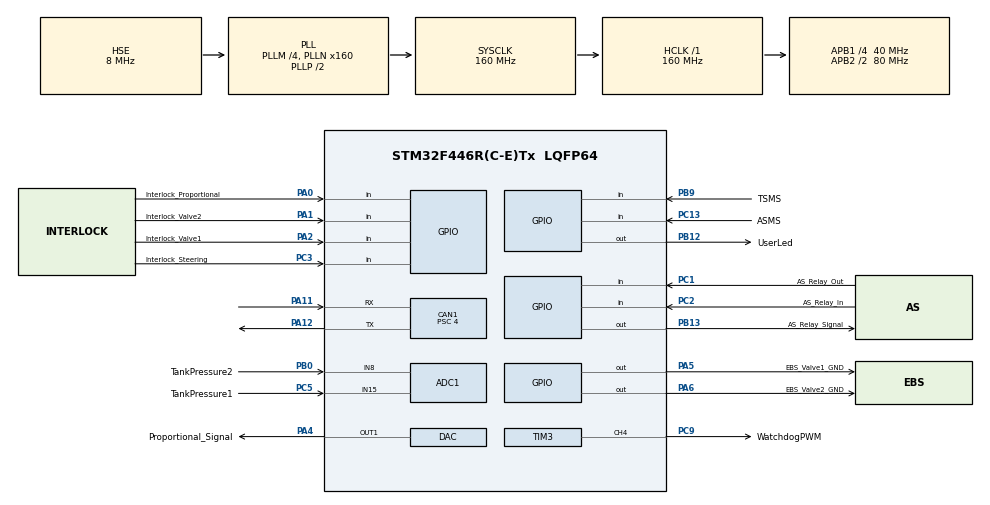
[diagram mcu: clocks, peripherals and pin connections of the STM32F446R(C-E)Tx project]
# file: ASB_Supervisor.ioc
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ADC1.Channel-0\#ChannelRegularConversion=ADC_CHANNEL_15
ADC1.Channel-1\#ChannelRegularConversion=ADC_CHANNEL_8
ADC1.ContinuousConvMode=DISABLE
ADC1.DMAContinuousRequests=ENABLE
ADC1.ExternalTrigConv=ADC_EXTERNALTRIGCONV_T2_TRGO
ADC1.ExternalTrigConvEdge=ADC_EXTERNALTRIGCONVEDGE_RISING
ADC1.NbrOfConversion=2
ADC1.NbrOfConversionFlag=1
ADC1.Rank-0\#ChannelRegularConversion=1
ADC1.Rank-1\#ChannelRegularConversion=2
ADC1.SamplingTime-0\#ChannelRegularConversion=ADC_SAMPLETIME_15CYCLES
ADC1.SamplingTime-1\#ChannelRegularConversion=ADC_SAMPLETIME_15CYCLES
ADC1.ScanConvMode=ENABLE
ADC1.master=1
CAN1.ABOM=ENABLE
CAN1.BS1=CAN_BS1_7TQ
CAN1.BS2=CAN_BS2_2TQ
CAN1.CalculateBaudRate=1000000
CAN1.CalculateTimeBit=1000
CAN1.CalculateTimeQuantum=100.0
CAN1.Prescaler=4
CAN1.SJW=CAN_SJW_2TQ
Dma.ADC1.0.Direction=DMA_PERIPH_TO_MEMORY
Dma.ADC1.0.FIFOMode=DMA_FIFOMODE_DISABLE
Dma.ADC1.0.Instance=DMA2_Stream0
Dma.ADC1.0.MemDataAlignment=DMA_MDATAALIGN_HALFWORD
Dma.ADC1.0.MemInc=DMA_MINC_ENABLE
Dma.ADC1.0.Mode=DMA_CIRCULAR
Dma.ADC1.0.PeriphDataAlignment=DMA_PDATAALIGN_HALFWORD
Dma.ADC1.0.PeriphInc=DMA_PINC_DISABLE
Dma.ADC1.0.Priority=DMA_PRIORITY_LOW
Dma.Request0=ADC1
Mcu.Family=STM32F4
Mcu.Name=STM32F446R(C-E)Tx
Mcu.Package=LQFP64
NVIC.CAN1_RX0_IRQn=true\:0\:0\:false\:false\:true\:true\:true\:true
NVIC.CAN1_TX_IRQn=true\:0\:0\:false\:false\:true\:true\:true\:true
NVIC.DMA2_Stream0_IRQn=true\:0\:0\:false\:false\:true\:false\:true\:true
NVIC.PriorityGroup=NVIC_PRIORITYGROUP_4
NVIC.TIM2_IRQn=true\:0\:0\:false\:false\:true\:true\:true\:true
NVIC.TIM4_IRQn=true\:0\:0\:false\:false\:true\:true\:true\:true
NVIC.TIM5_IRQn=true\:0\:0\:false\:false\:true\:true\:true\:true
NVIC.TIM6_DAC_IRQn=true\:0\:0\:false\:false\:true\:true\:true\:true
NVIC.TIM7_IRQn=true\:0\:0\:false\:false\:true\:true\:true\:true
PA0-WKUP.GPIO_Label=Interlock_Proportional
PA0-WKUP.Signal=GPIO_Input
PA1.GPIO_Label=Interlock_Valve2
PA1.Signal=GPIO_Input
PA11.Mode=CAN_Activate
PA11.Signal=CAN1_RX
PA12.Mode=CAN_Activate
PA12.Signal=CAN1_TX
PA13.Mode=Trace_Asynchronous_SW
PA13.Signal=SYS_JTMS-SWDIO
PA14.Mode=Trace_Asynchronous_SW
PA14.Signal=SYS_JTCK-SWCLK
PA2.GPIO_Label=Interlock_Valve1
PA2.Signal=GPIO_Input
PA4.GPIO_Label=Proportional_Signal
PA4.Signal=COMP_DAC1_group
PA5.GPIO_Label=EBS_Valve1_GND
PA5.Signal=GPIO_Output
PA6.GPIO_Label=EBS_Valve2_GND
PA6.Signal=GPIO_Output
PB0.GPIO_Label=TankPressure2
PB0.Signal=ADCx_IN8
PB12.GPIO_Label=UserLed
PB12.Signal=GPIO_Output
PB13.GPIO_Label=AS_Relay_Signal
PB13.GPIO_ModeDefaultOutputPP=GPIO_MODE_OUTPUT_OD
PB13.Signal=GPIO_Output
PB3.Mode=Trace_Asynchronous_SW
PB3.Signal=SYS_JTDO-SWO
PB9.GPIO_Label=TSMS
PB9.Signal=GPIO_Input
PC1.GPIO_Label=AS_Relay_Out
PC1.Signal=GPIO_Input
PC13.GPIO_Label=ASMS
PC13.Signal=GPIO_Input
PC2.GPIO_Label=AS_Relay_In
PC2.Signal=GPIO_Input
PC3.GPIO_Label=Interlock_Steering
PC3.Signal=GPIO_Input
PC5.GPIO_Label=TankPressure1
PC5.Signal=ADCx_IN15
PC9.GPIO_Label=WatchdogPWM
PC9.GPIO_ModeDefaultPP=GPIO_MODE_AF_OD
PC9.Signal=S_TIM3_CH4
PH0-OSC_IN.Mode=HSE-External-Oscillator
PH0-OSC_IN.Signal=RCC_OSC_IN
PH1-OSC_OUT.Mode=HSE-External-Oscillator
PH1-OSC_OUT.Signal=RCC_OSC_OUT
ProjectManager.HeapSize=0x200
ProjectManager.StackSize=0x400
ProjectManager.TargetToolchain=STM32CubeIDE
RCC.AHBFreq_Value=160000000
RCC.APB1CLKDivider=RCC_HCLK_DIV4
RCC.APB1Freq_Value=40000000
RCC.APB1TimFreq_Value=80000000
RCC.APB2CLKDivider=RCC_HCLK_DIV2
RCC.APB2Freq_Value=80000000
RCC.APB2TimFreq_Value=160000000
RCC.CortexFreq_Value=160000000
RCC.HCLKFreq_Value=160000000
RCC.HSE_VALUE=8000000
RCC.PLLM=4
RCC.PLLN=160
RCC.PLLSourceVirtual=RCC_PLLSOURCE_HSE
RCC.SYSCLKFreq_VALUE=160000000
RCC.SYSCLKSource=RCC_SYSCLKSOURCE_PLLCLK
RCC.USBFreq_Value=160000000
RCC.VCOOutputFreq_Value=320000000
SH.ADCx_IN15.0=ADC1_IN15,IN15
SH.ADCx_IN8.0=ADC1_IN8,IN8
SH.COMP_DAC1_group.0=DAC_OUT1,DAC_OUT1
SH.S_TIM3_CH4.0=TIM3_CH4,PWM Generation4 CH4
TIM2.Period=15
TIM2.Prescaler=49999
TIM2.TIM_MasterOutputTrigger=TIM_TRGO_UPDATE
TIM3.Channel-PWM\ Generation4\ CH4=TIM_CHANNEL_4
TIM3.Period=39999
TIM3.Prescaler=79
TIM3.Pulse-PWM\ Generation4\ CH4=30
TIM3.TIM_MasterOutputTrigger=TIM_TRGO_UPDATE
TIM4.Period=15
TIM4.Prescaler=49999
TIM5.AutoReloadPreload=TIM_AUTORELOAD_PRELOAD_ENABLE
TIM5.Period=39
TIM5.Prescaler=39999
TIM6.Period=99
TIM6.Prescaler=39999
TIM6.TIM_MasterOutputTrigger=TIM_TRGO_UPDATE
TIM7.Period=999
TIM7.Prescaler=7999
TIM7.TIM_MasterOutputTrigger=TIM_TRGO_UPDATE
VP_TIM2_VS_ClockSourceINT.Mode=Internal
VP_TIM3_VS_ClockSourceINT.Mode=Internal
VP_TIM3_VS_OPM.Mode=OPM_bit
VP_TIM4_VS_ClockSourceINT.Mode=Internal
VP_TIM5_VS_ClockSourceINT.Mode=Internal
VP_TIM6_VS_ClockSourceINT.Mode=Enable_Timer
VP_TIM7_VS_ClockSourceINT.Mode=Enable_Timer
board=custom

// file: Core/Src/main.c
/* USER CODE BEGIN Header */
/**
  ******************************************************************************
  * @file           : main.c
  * @brief          : Main program body
  ******************************************************************************
  * @attention
  *
  * Copyright (c) 2026 STMicroelectronics.
  * All rights reserved.
  *
  * This software is licensed under terms that can be found in the LICENSE file
  * in the root directory of this software component.
  * If no LICENSE file comes with this software, it is provided AS-IS.
  *
  ******************************************************************************
  */
/*
 * ASB Supervisor - main
 * Aristurtle Formula Student | 2026
 *
 * Boot: CubeMX peripheral init -> our module inits -> start the timers.
 * After that everything runs from the while(1) loop below, on flags that
 * the timer interrupts set (HAL_TIM_PeriodElapsedCallback):
 *   10ms  TIM4  inputs, AS state logic, initial check, monitoring, watchdog
 *   20ms  TIM5  ASB status frame to the APU
 *   50ms  TIM6  hydraulic + tank pressure frames
 *   100ms TIM7  datalogger frame
 * The interrupts themselves only do small things: set a flag, decode a
 * CAN frame, convert the ADC values.
 *
 * Clocks: 8MHz HSE crystal -> PLL (/4 x160 /2) -> SYSCLK 160MHz.
 * HSE and not HSI because HSI drifts ~1%, enough for error frames on
 * 1 Mbit/s CAN. APB1 = 40MHz, so CAN1 runs at 40MHz and the APB1 timers
 * (TIM2-7) at 80MHz.
 *
 * This file is generated by CubeMX from ASB_Supervisor.ioc. Only write
 * inside the USER CODE BEGIN / END blocks, everything outside them is
 * overwritten when the code is regenerated.
 */
/* USER CODE END Header */
#include "main.h"

/* USER CODE BEGIN Includes */

#include "can_mcu.h"
#include "stm32f4xx_hal.h"
#include <stdbool.h>
#include <stdint.h>
#include "asb_config.h"
#include "asb_can.h"
#include "asb_ebs.h"
#include "asb_system.h"
#include "asb_sensors.h"
#include "asb_service_brake.h"
#include "asb_initial_check.h"
#include "asb_monitoring.h"

/* USER CODE END Includes */

ADC_HandleTypeDef hadc1;
DMA_HandleTypeDef hdma_adc1;

CAN_HandleTypeDef hcan1;

DAC_HandleTypeDef hdac;

TIM_HandleTypeDef htim2;
TIM_HandleTypeDef htim3;
TIM_HandleTypeDef htim4;
TIM_HandleTypeDef htim5;
TIM_HandleTypeDef htim6;
TIM_HandleTypeDef htim7;

/* USER CODE BEGIN PV */

//ADC buffer for tank pressure readings
uint16_t adc_buffer[ASB_ADC_BUFFER_SIZE];   /* written by DMA, [0] = tank 1, [1] = tank 2 */

// ISRs
/* set by the timer interrupts, cleared by the main loop. volatile because
   they change outside the normal program flow */
static volatile bool tick_10ms  = false;
static volatile bool tick_20ms  = false;
static volatile bool tick_50ms  = false;
static volatile bool tick_100ms = false;
static bool monitoring = false;   /* armed at AS_Ready; if a check breaks -> EBS + SDC open */
/* note: 'monitoring' is not used right now, Monitor_Run() runs on every
   10ms tick while a driverless mission is selected (see the main loop) */

/* USER CODE END PV */

void SystemClock_Config(void);
static void MX_GPIO_Init(void);
static void MX_DMA_Init(void);
static void MX_ADC1_Init(void);
static void MX_CAN1_Init(void);
static void MX_DAC_Init(void);
static void MX_TIM3_Init(void);
static void MX_TIM2_Init(void);
static void MX_TIM4_Init(void);
static void MX_TIM6_Init(void);
static void MX_TIM5_Init(void);
static void MX_TIM7_Init(void);

int main(void)
{

  /* MCU Configuration--------------------------------------------------------*/

  /* Reset of all peripherals, Initializes the Flash interface and the Systick. */
  HAL_Init();

  /* Configure the system clock */
  SystemClock_Config();

  /* Initialize all configured peripherals */
  MX_GPIO_Init();
  MX_DMA_Init();
  MX_ADC1_Init();
  MX_CAN1_Init();
  MX_DAC_Init();
  MX_TIM3_Init();
  MX_TIM2_Init();
  MX_TIM4_Init();
  MX_TIM6_Init();
  MX_TIM5_Init();
  MX_TIM7_Init();
  /* USER CODE BEGIN 2 */

  /* Module inits - outputs go to the safe state first:
     EBS braking, SDC open, service brake at 0 */
  EBS_Init();
  ASB_System_Init();
  Sensors_Init();
  ServiceBrake_Init();
  CAN_App_Init();
  IC_Init();
  Monitor_Init();

  /* Start peripherals */
  /* ADC + DMA in circular mode: every TIM2 trigger converts both channels,
     DMA writes them to adc_buffer and HAL_ADC_ConvCpltCallback fires.
     (the uint32_t cast is only the HAL prototype, the DMA moves half words) */
  HAL_ADC_Start_DMA(&hadc1, (uint32_t *)adc_buffer, ASB_ADC_BUFFER_SIZE);
  HAL_TIM_Base_Start_IT(&htim2);   /* ADC trigger, 10ms        */
  HAL_TIM_Base_Start_IT(&htim4);   /* main loop tick, 10ms     */
  HAL_TIM_Base_Start_IT(&htim5);   /* CAN ASB TX, 20ms         */
  HAL_TIM_Base_Start_IT(&htim6);   /* CAN Pressures TX, 50ms   */
  HAL_TIM_Base_Start_IT(&htim7);   /* CAN Datalogger TX, 100ms */
  HAL_TIM_PWM_Start(&htim3, TIM_CHANNEL_4);  /* watchdog pulse on PC9, kept alive by WDG_Reset() */
  HAL_DAC_Start(&hdac, DAC_CHANNEL_1);       /* Service brake DAC */

  /* USER CODE END 2 */

  /* Infinite loop */
  /* USER CODE BEGIN WHILE */
  while (1)
  {
    /* 10ms task */
    if (tick_10ms)
    {
      tick_10ms = false;
      Inputs_Sample();   /* read all digital inputs once, the rest of the tick uses this snapshot */
      if (SYS_GetSelectedMission() == MISSION_AUTONOMOUS)
      {
        /* what the ASB does depends on the AS state the APU reports */
        switch (CAN_GetASState())
          {
            case CAN_MCU_DV_SYSTEM_STATUS_AS_STATUS_OFF_CHOICE:  /* AS_Off */
            /* AS_Off = the initial check runs here, one step per tick */
            if (IC_GetState() < IC_WAIT_SDC_CLOSE_FIRST_TIME) { SDC_Open(); }
            // keep SDC open until the initial check reaches the dig-pin-high step
            IC_Run();

            break;

            case CAN_MCU_DV_SYSTEM_STATUS_AS_STATUS_READY_CHOICE:  /* AS_Ready */
            if ( ServiceBrake_State() != SERVICE_BRAKE_PARK) { ServiceBrake_Park(); }
            // park the service brake so the car cant roll if something goes wrong
            if (EBS_State() != EBS_ARMED) { SDC_Open(); }
            // EBS has to be armed at this point, otherwise keep the SDC open

            break;

            case CAN_MCU_DV_SYSTEM_STATUS_AS_STATUS_DRIVING_CHOICE:  /* AS_Driving */
            if (ServiceBrake_State() != SERVICE_BRAKE_AVAILABLE)
            {
              ServiceBrake_Disengage();
              ServiceBrake_Available();
            }  // make the service brake available - ready to brake but no pressure yet

            /* AS_FINISHED */

            if(CAN_GetASSetFinished() == CAN_MCU_APU_SET_FINISHED_SET_FINISHED_TRUE_CHOICE)
            {
              EBS_Activate();
              SDC_Open();
            }   // APU says mission finished -> EBS + SDC open, car stays stopped

            break;

            case CAN_MCU_DV_SYSTEM_STATUS_AS_STATUS_EMERGENCY_CHOICE:  /* AS_Emergency */
            EBS_Activate();
            SDC_Open();

            break;

            default:
            /* AS_Finish (5) and unknown values end up here, nothing to do.
               Finishing is handled in AS_Driving through set_finished. */

            break;
          }

          /* continuous monitoring - failed check while armed -> EBS + open SDC */
          /* runs in every AS state, also while the initial check is running */
          if (!Monitor_Run()) { EBS_Activate(); SDC_Open(); }
        }
      else if (SYS_GetSelectedMission() == MISSION_MANUAL)
      {
       Manual_Run();
      }
      /* no mission selected -> nothing to do, outputs stay as they are */

      /* pet the watchdog every tick, in every mode. The only time we don't
         is the watchdog test of the initial check, where the relay has to
         open by itself (see asb_initial_check.c) */
      if(IC_GetState() != IC_STOP_WATCHDOG  && IC_GetState() != IC_WAIT_SDC_OPEN_SECOND_TIME ) { WDG_Reset(); }

    }

    /* CAN TX tasks */
    if (tick_20ms)  { tick_20ms  = false; CAN_SendAsbStatus(); }

    if (tick_50ms)  { tick_50ms  = false; CAN_SendHydraulicPressures(); CAN_SendTankPressures(); }

    if (tick_100ms) { tick_100ms = false; CAN_SendDatalogger(); }
    /* USER CODE END WHILE */

}
}

void SystemClock_Config(void)
{
  RCC_OscInitTypeDef RCC_OscInitStruct = {0};
  RCC_ClkInitTypeDef RCC_ClkInitStruct = {0};

  /** Configure the main internal regulator output voltage
  */
  __HAL_RCC_PWR_CLK_ENABLE();
  __HAL_PWR_VOLTAGESCALING_CONFIG(PWR_REGULATOR_VOLTAGE_SCALE1);

  /** Initializes the RCC Oscillators according to the specified parameters
  * in the RCC_OscInitTypeDef structure.
  */
  RCC_OscInitStruct.OscillatorType = RCC_OSCILLATORTYPE_HSE;
  RCC_OscInitStruct.HSEState = RCC_HSE_ON;
  RCC_OscInitStruct.PLL.PLLState = RCC_PLL_ON;
  RCC_OscInitStruct.PLL.PLLSource = RCC_PLLSOURCE_HSE;
  RCC_OscInitStruct.PLL.PLLM = 4;
  RCC_OscInitStruct.PLL.PLLN = 160;
  RCC_OscInitStruct.PLL.PLLP = RCC_PLLP_DIV2;
  RCC_OscInitStruct.PLL.PLLQ = 2;
  RCC_OscInitStruct.PLL.PLLR = 2;
  if (HAL_RCC_OscConfig(&RCC_OscInitStruct) != HAL_OK)
  {
    Error_Handler();
  }

  /** Initializes the CPU, AHB and APB buses clocks
  */
  RCC_ClkInitStruct.ClockType = RCC_CLOCKTYPE_HCLK|RCC_CLOCKTYPE_SYSCLK
                              |RCC_CLOCKTYPE_PCLK1|RCC_CLOCKTYPE_PCLK2;
  RCC_ClkInitStruct.SYSCLKSource = RCC_SYSCLKSOURCE_PLLCLK;
  RCC_ClkInitStruct.AHBCLKDivider = RCC_SYSCLK_DIV1;
  RCC_ClkInitStruct.APB1CLKDivider = RCC_HCLK_DIV4;
  RCC_ClkInitStruct.APB2CLKDivider = RCC_HCLK_DIV2;

  if (HAL_RCC_ClockConfig(&RCC_ClkInitStruct, FLASH_LATENCY_5) != HAL_OK)
  {
    Error_Handler();
  }
}

static void MX_ADC1_Init(void)
{

  /* USER CODE BEGIN ADC1_Init 0 */
  /* ADC1: 2 channel scan, started by TIM2 TRGO every 10ms, DMA -> adc_buffer
     rank 1 = PC5 / IN15 = TankPressure1 -> adc_buffer[0]
     rank 2 = PB0 / IN8  = TankPressure2 -> adc_buffer[1]
     Don't switch it to continuous / software start: it free-runs and floods
     the CPU with DMA interrupts (~1.5us period), the main loop starves. */
  /* USER CODE END ADC1_Init 0 */

  ADC_ChannelConfTypeDef sConfig = {0};

  /** Configure the global features of the ADC (Clock, Resolution, Data Alignment and number of conversion)
  */
  hadc1.Instance = ADC1;
  hadc1.Init.ClockPrescaler = ADC_CLOCK_SYNC_PCLK_DIV4;
  hadc1.Init.Resolution = ADC_RESOLUTION_12B;
  hadc1.Init.ScanConvMode = ENABLE;
  hadc1.Init.ContinuousConvMode = DISABLE;
  hadc1.Init.DiscontinuousConvMode = DISABLE;
  hadc1.Init.ExternalTrigConvEdge = ADC_EXTERNALTRIGCONVEDGE_RISING;
  hadc1.Init.ExternalTrigConv = ADC_EXTERNALTRIGCONV_T2_TRGO;
  hadc1.Init.DataAlign = ADC_DATAALIGN_RIGHT;
  hadc1.Init.NbrOfConversion = 2;
  hadc1.Init.DMAContinuousRequests = ENABLE;
  hadc1.Init.EOCSelection = ADC_EOC_SINGLE_CONV;
  if (HAL_ADC_Init(&hadc1) != HAL_OK)
  {
    Error_Handler();
  }

  /** Configure for the selected ADC regular channel its corresponding rank in the sequencer and its sample time.
  */
  sConfig.Channel = ADC_CHANNEL_15;
  sConfig.Rank = 1;
  sConfig.SamplingTime = ADC_SAMPLETIME_15CYCLES;
  if (HAL_ADC_ConfigChannel(&hadc1, &sConfig) != HAL_OK)
  {
    Error_Handler();
  }

  /** Configure for the selected ADC regular channel its corresponding rank in the sequencer and its sample time.
  */
  sConfig.Channel = ADC_CHANNEL_8;
  sConfig.Rank = 2;
  if (HAL_ADC_ConfigChannel(&hadc1, &sConfig) != HAL_OK)
  {
    Error_Handler();
  }

}

static void MX_CAN1_Init(void)
{

  /* USER CODE BEGIN CAN1_Init 0 */
  /* CAN1 at 1 Mbit/s: 40MHz / 4 = 10MHz -> 1 + 7 + 2 = 10 time quanta per bit,
     sample point at 80%. AutoBusOff = recover by itself after bus off,
     no auto retransmission = a frame is sent once and then dropped */
  /* USER CODE END CAN1_Init 0 */

  hcan1.Instance = CAN1;
  hcan1.Init.Prescaler = 4;
  hcan1.Init.Mode = CAN_MODE_NORMAL;
  hcan1.Init.SyncJumpWidth = CAN_SJW_2TQ;
  hcan1.Init.TimeSeg1 = CAN_BS1_7TQ;
  hcan1.Init.TimeSeg2 = CAN_BS2_2TQ;
  hcan1.Init.TimeTriggeredMode = DISABLE;
  hcan1.Init.AutoBusOff = ENABLE;
  hcan1.Init.AutoWakeUp = DISABLE;
  hcan1.Init.AutoRetransmission = DISABLE;
  hcan1.Init.ReceiveFifoLocked = DISABLE;
  hcan1.Init.TransmitFifoPriority = DISABLE;
  if (HAL_CAN_Init(&hcan1) != HAL_OK)
  {
    Error_Handler();
  }

}

static void MX_DAC_Init(void)
{

  /* USER CODE BEGIN DAC_Init 0 */
  /* DAC OUT1 on PA4 -> proportional valve (service brake), set by asb_service_brake.c */
  /* USER CODE END DAC_Init 0 */

  DAC_ChannelConfTypeDef sConfig = {0};

  /** DAC Initialization
  */
  hdac.Instance = DAC;
  if (HAL_DAC_Init(&hdac) != HAL_OK)
  {
    Error_Handler();
  }

  /** DAC channel OUT1 config
  */
  sConfig.DAC_Trigger = DAC_TRIGGER_NONE;
  sConfig.DAC_OutputBuffer = DAC_OUTPUTBUFFER_ENABLE;
  if (HAL_DAC_ConfigChannel(&hdac, &sConfig, DAC_CHANNEL_1) != HAL_OK)
  {
    Error_Handler();
  }

}

static void MX_TIM2_Init(void)
{

  /* USER CODE BEGIN TIM2_Init 0 */
  /* TIM2: 80MHz / 50000 / 16 = 100Hz -> 10ms, its TRGO starts the ADC scan */
  /* USER CODE END TIM2_Init 0 */

  TIM_ClockConfigTypeDef sClockSourceConfig = {0};
  TIM_MasterConfigTypeDef sMasterConfig = {0};

  htim2.Instance = TIM2;
  htim2.Init.Prescaler = 49999;
  htim2.Init.CounterMode = TIM_COUNTERMODE_UP;
  htim2.Init.Period = 15;
  htim2.Init.ClockDivision = TIM_CLOCKDIVISION_DIV1;
  htim2.Init.AutoReloadPreload = TIM_AUTORELOAD_PRELOAD_DISABLE;
  if (HAL_TIM_Base_Init(&htim2) != HAL_OK)
  {
    Error_Handler();
  }
  sClockSourceConfig.ClockSource = TIM_CLOCKSOURCE_INTERNAL;
  if (HAL_TIM_ConfigClockSource(&htim2, &sClockSourceConfig) != HAL_OK)
  {
    Error_Handler();
  }
  sMasterConfig.MasterOutputTrigger = TIM_TRGO_UPDATE;
  sMasterConfig.MasterSlaveMode = TIM_MASTERSLAVEMODE_DISABLE;
  if (HAL_TIMEx_MasterConfigSynchronization(&htim2, &sMasterConfig) != HAL_OK)
  {
    Error_Handler();
  }

}

static void MX_TIM3_Init(void)
{

  /* USER CODE BEGIN TIM3_Init 0 */
  /* TIM3: watchdog pulse on CH4 (PC9). 80MHz / 80 = 1MHz, one pulse mode,
     period 40ms, output high for the first 30us. WDG_Reset() restarts it
     every 10ms, see asb_system.c */
  /* USER CODE END TIM3_Init 0 */

  TIM_ClockConfigTypeDef sClockSourceConfig = {0};
  TIM_MasterConfigTypeDef sMasterConfig = {0};
  TIM_OC_InitTypeDef sConfigOC = {0};

  htim3.Instance = TIM3;
  htim3.Init.Prescaler = 79;
  htim3.Init.CounterMode = TIM_COUNTERMODE_UP;
  htim3.Init.Period = 39999;
  htim3.Init.ClockDivision = TIM_CLOCKDIVISION_DIV1;
  htim3.Init.AutoReloadPreload = TIM_AUTORELOAD_PRELOAD_DISABLE;
  if (HAL_TIM_Base_Init(&htim3) != HAL_OK)
  {
    Error_Handler();
  }
  sClockSourceConfig.ClockSource = TIM_CLOCKSOURCE_INTERNAL;
  if (HAL_TIM_ConfigClockSource(&htim3, &sClockSourceConfig) != HAL_OK)
  {
    Error_Handler();
  }
  if (HAL_TIM_PWM_Init(&htim3) != HAL_OK)
  {
    Error_Handler();
  }
  if (HAL_TIM_OnePulse_Init(&htim3, TIM_OPMODE_SINGLE) != HAL_OK)
  {
    Error_Handler();
  }
  sMasterConfig.MasterOutputTrigger = TIM_TRGO_UPDATE;
  sMasterConfig.MasterSlaveMode = TIM_MASTERSLAVEMODE_DISABLE;
  if (HAL_TIMEx_MasterConfigSynchronization(&htim3, &sMasterConfig) != HAL_OK)
  {
    Error_Handler();
  }
  sConfigOC.OCMode = TIM_OCMODE_PWM1;
  sConfigOC.Pulse = 30;
  sConfigOC.OCPolarity = TIM_OCPOLARITY_HIGH;
  sConfigOC.OCFastMode = TIM_OCFAST_DISABLE;
  if (HAL_TIM_PWM_ConfigChannel(&htim3, &sConfigOC, TIM_CHANNEL_4) != HAL_OK)
  {
    Error_Handler();
  }
  HAL_TIM_MspPostInit(&htim3);

}

static void MX_TIM4_Init(void)
{

  /* USER CODE BEGIN TIM4_Init 0 */
  /* TIM4: 80MHz / 50000 / 16 = 100Hz -> 10ms main tick */
  /* USER CODE END TIM4_Init 0 */

  TIM_ClockConfigTypeDef sClockSourceConfig = {0};
  TIM_MasterConfigTypeDef sMasterConfig = {0};

  htim4.Instance = TIM4;
  htim4.Init.Prescaler = 49999;
  htim4.Init.CounterMode = TIM_COUNTERMODE_UP;
  htim4.Init.Period = 15;
  htim4.Init.ClockDivision = TIM_CLOCKDIVISION_DIV1;
  htim4.Init.AutoReloadPreload = TIM_AUTORELOAD_PRELOAD_DISABLE;
  if (HAL_TIM_Base_Init(&htim4) != HAL_OK)
  {
    Error_Handler();
  }
  sClockSourceConfig.ClockSource = TIM_CLOCKSOURCE_INTERNAL;
  if (HAL_TIM_ConfigClockSource(&htim4, &sClockSourceConfig) != HAL_OK)
  {
    Error_Handler();
  }
  sMasterConfig.MasterOutputTrigger = TIM_TRGO_RESET;
  sMasterConfig.MasterSlaveMode = TIM_MASTERSLAVEMODE_DISABLE;
  if (HAL_TIMEx_MasterConfigSynchronization(&htim4, &sMasterConfig) != HAL_OK)
  {
    Error_Handler();
  }

}

static void MX_TIM5_Init(void)
{

  /* USER CODE BEGIN TIM5_Init 0 */
  /* TIM5: 80MHz / 40000 / 40 = 50Hz -> 20ms, ASB status TX */
  /* USER CODE END TIM5_Init 0 */

  TIM_ClockConfigTypeDef sClockSourceConfig = {0};
  TIM_MasterConfigTypeDef sMasterConfig = {0};

  htim5.Instance = TIM5;
  htim5.Init.Prescaler = 39999;
  htim5.Init.CounterMode = TIM_COUNTERMODE_UP;
  htim5.Init.Period = 39;
  htim5.Init.ClockDivision = TIM_CLOCKDIVISION_DIV1;
  htim5.Init.AutoReloadPreload = TIM_AUTORELOAD_PRELOAD_ENABLE;
  if (HAL_TIM_Base_Init(&htim5) != HAL_OK)
  {
    Error_Handler();
  }
  sClockSourceConfig.ClockSource = TIM_CLOCKSOURCE_INTERNAL;
  if (HAL_TIM_ConfigClockSource(&htim5, &sClockSourceConfig) != HAL_OK)
  {
    Error_Handler();
  }
  sMasterConfig.MasterOutputTrigger = TIM_TRGO_RESET;
  sMasterConfig.MasterSlaveMode = TIM_MASTERSLAVEMODE_DISABLE;
  if (HAL_TIMEx_MasterConfigSynchronization(&htim5, &sMasterConfig) != HAL_OK)
  {
    Error_Handler();
  }

}

static void MX_TIM6_Init(void)
{

  /* USER CODE BEGIN TIM6_Init 0 */
  /* TIM6: 80MHz / 40000 / 100 = 20Hz -> 50ms, pressure frames TX */
  /* USER CODE END TIM6_Init 0 */

  TIM_MasterConfigTypeDef sMasterConfig = {0};

  htim6.Instance = TIM6;
  htim6.Init.Prescaler = 39999;
  htim6.Init.CounterMode = TIM_COUNTERMODE_UP;
  htim6.Init.Period = 99;
  htim6.Init.AutoReloadPreload = TIM_AUTORELOAD_PRELOAD_DISABLE;
  if (HAL_TIM_Base_Init(&htim6) != HAL_OK)
  {
    Error_Handler();
  }
  sMasterConfig.MasterOutputTrigger = TIM_TRGO_UPDATE;
  sMasterConfig.MasterSlaveMode = TIM_MASTERSLAVEMODE_DISABLE;
  if (HAL_TIMEx_MasterConfigSynchronization(&htim6, &sMasterConfig) != HAL_OK)
  {
    Error_Handler();
  }

}

static void MX_TIM7_Init(void)
{

  /* USER CODE BEGIN TIM7_Init 0 */
  /* TIM7: 80MHz / 8000 / 1000 = 10Hz -> 100ms, datalogger TX */
  /* USER CODE END TIM7_Init 0 */

  TIM_MasterConfigTypeDef sMasterConfig = {0};

  htim7.Instance = TIM7;
  htim7.Init.Prescaler = 7999;
  htim7.Init.CounterMode = TIM_COUNTERMODE_UP;
  htim7.Init.Period = 999;
  htim7.Init.AutoReloadPreload = TIM_AUTORELOAD_PRELOAD_DISABLE;
  if (HAL_TIM_Base_Init(&htim7) != HAL_OK)
  {
    Error_Handler();
  }
  sMasterConfig.MasterOutputTrigger = TIM_TRGO_UPDATE;
  sMasterConfig.MasterSlaveMode = TIM_MASTERSLAVEMODE_DISABLE;
  if (HAL_TIMEx_MasterConfigSynchronization(&htim7, &sMasterConfig) != HAL_OK)
  {
    Error_Handler();
  }

}

static void MX_DMA_Init(void)
{

  /* DMA controller clock enable */
  __HAL_RCC_DMA2_CLK_ENABLE();

  /* DMA interrupt init */
  /* DMA2_Stream0_IRQn interrupt configuration */
  HAL_NVIC_SetPriority(DMA2_Stream0_IRQn, 0, 0);
  HAL_NVIC_EnableIRQ(DMA2_Stream0_IRQn);

}

static void MX_GPIO_Init(void)
{
  GPIO_InitTypeDef GPIO_InitStruct = {0};
  /* USER CODE BEGIN MX_GPIO_Init_1 */
  /* AS_Relay_Signal (PB13) is open drain, the pull-up is on the board */
  /* USER CODE END MX_GPIO_Init_1 */

  /* GPIO Ports Clock Enable */
  __HAL_RCC_GPIOC_CLK_ENABLE();
  __HAL_RCC_GPIOH_CLK_ENABLE();
  __HAL_RCC_GPIOA_CLK_ENABLE();
  __HAL_RCC_GPIOB_CLK_ENABLE();

  /*Configure GPIO pin Output Level */
  HAL_GPIO_WritePin(GPIOA, EBS_Valve1_GND_Pin|EBS_Valve2_GND_Pin, GPIO_PIN_RESET);

  /*Configure GPIO pin Output Level */
  HAL_GPIO_WritePin(GPIOB, UserLed_Pin|AS_Relay_Signal_Pin, GPIO_PIN_RESET);

  /*Configure GPIO pins : ASMS_Pin AS_Relay_Out_Pin AS_Relay_In_Pin Interlock_Steering_Pin */
  GPIO_InitStruct.Pin = ASMS_Pin|AS_Relay_Out_Pin|AS_Relay_In_Pin|Interlock_Steering_Pin;
  GPIO_InitStruct.Mode = GPIO_MODE_INPUT;
  GPIO_InitStruct.Pull = GPIO_NOPULL;
  HAL_GPIO_Init(GPIOC, &GPIO_InitStruct);

  /*Configure GPIO pins : Interlock_Proportional_Pin Interlock_Valve2_Pin Interlock_Valve1_Pin */
  GPIO_InitStruct.Pin = Interlock_Proportional_Pin|Interlock_Valve2_Pin|Interlock_Valve1_Pin;
  GPIO_InitStruct.Mode = GPIO_MODE_INPUT;
  GPIO_InitStruct.Pull = GPIO_NOPULL;
  HAL_GPIO_Init(GPIOA, &GPIO_InitStruct);

  /*Configure GPIO pins : EBS_Valve1_GND_Pin EBS_Valve2_GND_Pin */
  GPIO_InitStruct.Pin = EBS_Valve1_GND_Pin|EBS_Valve2_GND_Pin;
  GPIO_InitStruct.Mode = GPIO_MODE_OUTPUT_PP;
  GPIO_InitStruct.Pull = GPIO_NOPULL;
  GPIO_InitStruct.Speed = GPIO_SPEED_FREQ_LOW;
  HAL_GPIO_Init(GPIOA, &GPIO_InitStruct);

  /*Configure GPIO pin : UserLed_Pin */
  GPIO_InitStruct.Pin = UserLed_Pin;
  GPIO_InitStruct.Mode = GPIO_MODE_OUTPUT_PP;
  GPIO_InitStruct.Pull = GPIO_NOPULL;
  GPIO_InitStruct.Speed = GPIO_SPEED_FREQ_LOW;
  HAL_GPIO_Init(UserLed_GPIO_Port, &GPIO_InitStruct);

  /*Configure GPIO pin : AS_Relay_Signal_Pin */
  GPIO_InitStruct.Pin = AS_Relay_Signal_Pin;
  GPIO_InitStruct.Mode = GPIO_MODE_OUTPUT_OD;
  GPIO_InitStruct.Pull = GPIO_NOPULL;
  GPIO_InitStruct.Speed = GPIO_SPEED_FREQ_LOW;
  HAL_GPIO_Init(AS_Relay_Signal_GPIO_Port, &GPIO_InitStruct);

  /*Configure GPIO pin : TSMS_Pin */
  GPIO_InitStruct.Pin = TSMS_Pin;
  GPIO_InitStruct.Mode = GPIO_MODE_INPUT;
  GPIO_InitStruct.Pull = GPIO_NOPULL;
  HAL_GPIO_Init(TSMS_GPIO_Port, &GPIO_InitStruct);

}

/* USER CODE BEGIN 4 */

/*ISRs for timer callbacks*/
/* HAL calls these from the interrupt handlers in stm32f4xx_it.c.
   Keep them short, the real work happens in the main loop. */
/* TIM2 (ADC trigger) also ends up here and is ignored */
void HAL_TIM_PeriodElapsedCallback(TIM_HandleTypeDef *htim)
{
    if      (htim->Instance == TIM4) { tick_10ms  = true; }   /* 10 ms  */
    else if (htim->Instance == TIM5) { tick_20ms  = true; }   /* 20 ms  */
    else if (htim->Instance == TIM6) { tick_50ms  = true; }   /* 50 ms  */
    else if (htim->Instance == TIM7) { tick_100ms = true; }   /* 100 ms */
}

/* CAN RX - a filtered frame arrived in FIFO0 */
void HAL_CAN_RxFifo0MsgPendingCallback(CAN_HandleTypeDef *hcan)
{
    if (hcan->Instance == CAN1)
        CAN_ProcessRxMessage();
}

/* ADC DMA complete - update tank pressure readings */
void HAL_ADC_ConvCpltCallback(ADC_HandleTypeDef *hadc)
{
    if (hadc->Instance == ADC1)
        Sensors_Update(adc_buffer);
}

/* USER CODE END 4 */

void Error_Handler(void)
{
  /* USER CODE BEGIN Error_Handler_Debug */
  /* User can add his own implementation to report the HAL error return state */
  /* stop here forever. The watchdog is not reset any more, so the external
     watchdog opens the SDC */
  __disable_irq();
  while (1)
  {
  }
  /* USER CODE END Error_Handler_Debug */
}
